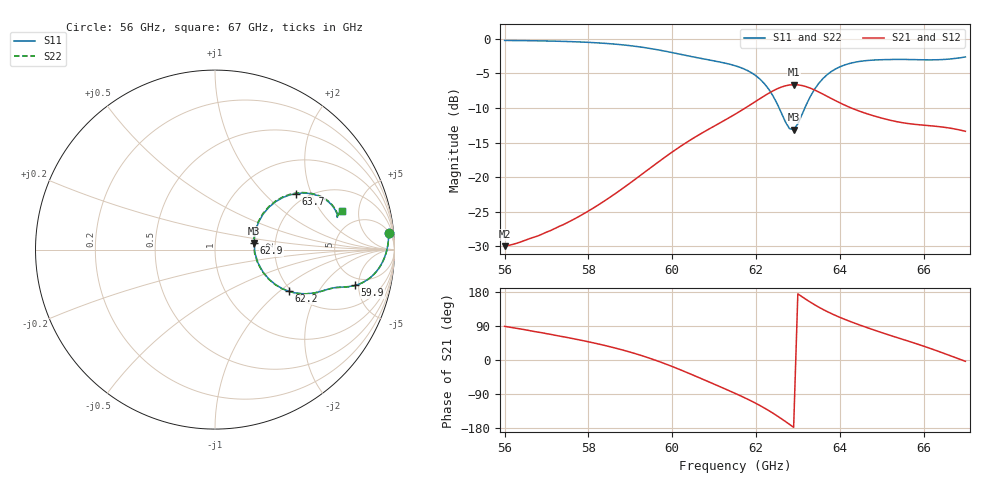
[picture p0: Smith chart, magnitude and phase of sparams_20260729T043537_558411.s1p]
! Touchstone file exported from HFSS 2023.2.0
!  File:  C:/Users/Gongzhui/Documents/Projects/hfss-mcp/benchmark/cases/siw_feed_l1/runs/run_probe_main/app_data/workspace/runs/run_probe_main/work/siw_feed_l1_sandbox.aedt
!  Generated:  12:35:37 %x4E0B%x5348  7%x6708 29, 2026
!  Design:  SIW Feed Structure
!  Project:  siw_feed_l1_sandbox
!  Setup:  Setup1
!  Solution:  Sweep
! Variables:
!  Ty = 2.5mm
!  cd = 0.75mm
!  cx = 7.9mm
!  cy = 7.9mm
!  fl = 0.315mm
!  fw = 1.05mm
!  fx = 3.255mm
!  fy = 2.0646mm
!  gap = 0.18mm
!  gx = 15.65mm
!  gy = 13mm
!  hsub = 0.787mm
!  lWG = 3.875mm
!  offset = 0.04mm
!  pl = 1.4mm
!  pw = 0.6mm
!  t1 = 0.2502mm
!  t2 = 0.2mm
!  vd = 0.3mm
!  vs = 0.58mm
!  wWG = 4.4292mm
# GHz S MA R 50.000000
! Terminal data exported
! Port[1] = 1
! Port[2] = 2
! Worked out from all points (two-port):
!   111 points, 56 GHz to 67 GHz, reference 50 ohm
!   highest |S21| = -6.63 dB at 62.9 GHz (marker M1); lowest = -30.0 dB at 56 GHz (marker M2)
!   |S21| within 3 dB of the highest: 61.84 GHz to 64.13 GHz (2.291 GHz wide, 3.64 % of centre)
!   lowest |S11| = -13.1 dB at 62.9 GHz (marker M3), VSWR 1.57, Z = 77.5 + j6.02 ohm
!   |S11| at or under -10 dB: 62.55 GHz to 63.17 GHz (616.3 MHz wide, 0.98 % of centre)
!   |S22| runs from -13.2 to -0.3 dB; largest |S21 - S12| = 3e-13
!   S11 on the Smith chart (normalised r, x): 56 GHz: 6, +19; 59.9 GHz: 4.00, -4.52; 62.2 GHz: 1.94, -1.17; 62.9 GHz: 1.55, +0.12; 63.7 GHz: 1.76, +1.57; 67 GHz: 3.46, +3.25
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56  0.9713 5.4  0.03173 88.9  0.03173 88.9  0.9715 5.4
56.8  0.9652 2.3  0.03766 73.5  0.03766 73.5  0.9654 2.3
57.9  0.9441 -2.9  0.05465 50.4  0.05465 50.4  0.9443 -2.9
59  0.8903 -9.3  0.09088 20.7  0.09088 20.7  0.8905 -9.3
59.7  0.8268 -13.4  0.1306 -4.6  0.1306 -4.6  0.827 -13.4
59.9  0.805 -14.3  0.1445 -12.9  0.1445 -12.9  0.8051 -14.4
60.7  0.7195 -17.0  0.2072 -49.3  0.2072 -49.3  0.7189 -17.1
61.1  0.6821 -18.5  0.2426 -68.4  0.2426 -68.4  0.6812 -18.6
61.5  0.6383 -21.2  0.2846 -87.9  0.2846 -87.9  0.6369 -21.4
61.9  0.566 -25.8  0.3381 -108.8  0.3381 -108.8  0.564 -25.9
62.2  0.4741 -29.4  0.3862 -126.6  0.3862 -126.6  0.4715 -29.6
62.5  0.342 -28.7  0.4337 -147.0  0.4337 -147.0  0.3388 -28.7
62.8  0.2241 -5.4  0.4633 -169.8  0.4633 -169.8  0.2212 -4.9
62.9  0.2204 9.6  0.4659 -177.6  0.4659 -177.6  0.2183 10.4
63.1  0.2835 31.8  0.4591 167.0  0.4591 167.0  0.2834 32.5
63.4  0.4318 38.3  0.4261 145.8  0.4261 145.8  0.433 38.7
63.7  0.5498 34.6  0.3835 127.9  0.3835 127.9  0.5515 34.9
64  0.6256 29.6  0.3446 112.7  0.3446 112.7  0.6275 29.8
64.4  0.6795 23.8  0.3052 95.5  0.3052 95.5  0.6815 23.9
65.2  0.7075 17.0  0.2579 65.1  0.2579 65.1  0.7097 17.0
66.2  0.7037 14.9  0.2345 29.0  0.2345 29.0  0.7054 14.9
67  0.7383 16.8  0.2144 -3.4  0.2144 -3.4  0.7398 16.8
